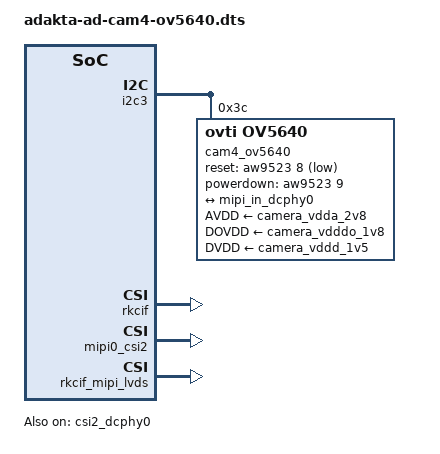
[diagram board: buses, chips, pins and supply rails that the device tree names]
/dts-v1/;
/plugin/;

#include <dt-bindings/gpio/gpio.h>
#include <dt-bindings/pinctrl/rockchip.h>

/ {
	metadata {
		title = "Enable OV5640 MIPI-CSI Camera 4";
		compatible = "adakta,adakta-ad-rk3588";
		category = "camera";
		description = "Enable OV5640 MIPI-CSI Camera 4";
	};

	fragment@0 {
		target = <&i2c3>;

		__overlay__ {
			status = "okay";

			cam4_ov5640: cam4_ov5640@3c {
				status = "okay";

				compatible = "ovti,ov5640";
				reg = <0x3c>;

				pinctrl-names = "default";
				pinctrl-0 = <&aw9523_cam4_powerdown_pins &aw9523_cam4_reset_pins>;

				reset-gpios = <&aw9523 8 GPIO_ACTIVE_LOW>;
				powerdown-gpios = <&aw9523 9 GPIO_ACTIVE_HIGH>;

				clocks = <&clk_cam_25m>;
				clock-names = "xclk";

				AVDD-supply = <&camera_vdda_2v8>;
				DOVDD-supply = <&camera_vdddo_1v8>;
				DVDD-supply = <&camera_vddd_1v5>;

				rockchip,camera-module-index = <4>;
				rockchip,camera-module-facing = "back";
				rockchip,camera-module-name = "KLT-KD6-OV5640";
				rockchip,camera-module-lens-name = "default";

				port {
					cam4_ov5640_out: endpoint {
						remote-endpoint = <&mipi_in_dcphy0>;
						data-lanes = <1 2>;
					};
				};
			};
		};
	};

	fragment@1 {
		target = <&mipi_in_dcphy0>;

		__overlay__ {
			remote-endpoint = <&cam4_ov5640_out>;
			data-lanes = <1 2>;
		};
	};

	fragment@2 {
		target = <&rkcif>;

		__overlay__ {
			status = "okay";
		};
	};

	fragment@3 {
		target = <&rkcif_mmu>;

		__overlay__ {
			status = "okay";
		};
	};

	fragment@4 {
		target = <&csi2_dcphy0>;

		__overlay__ {
			status = "okay";
		};
	};

	fragment@5 {
		target = <&mipi0_csi2>;

		__overlay__ {
			status = "okay";
		};
	};

	fragment@6 {
		target = <&rkcif_mipi_lvds>;

		__overlay__ {
			status = "okay";
		};
	};
};
